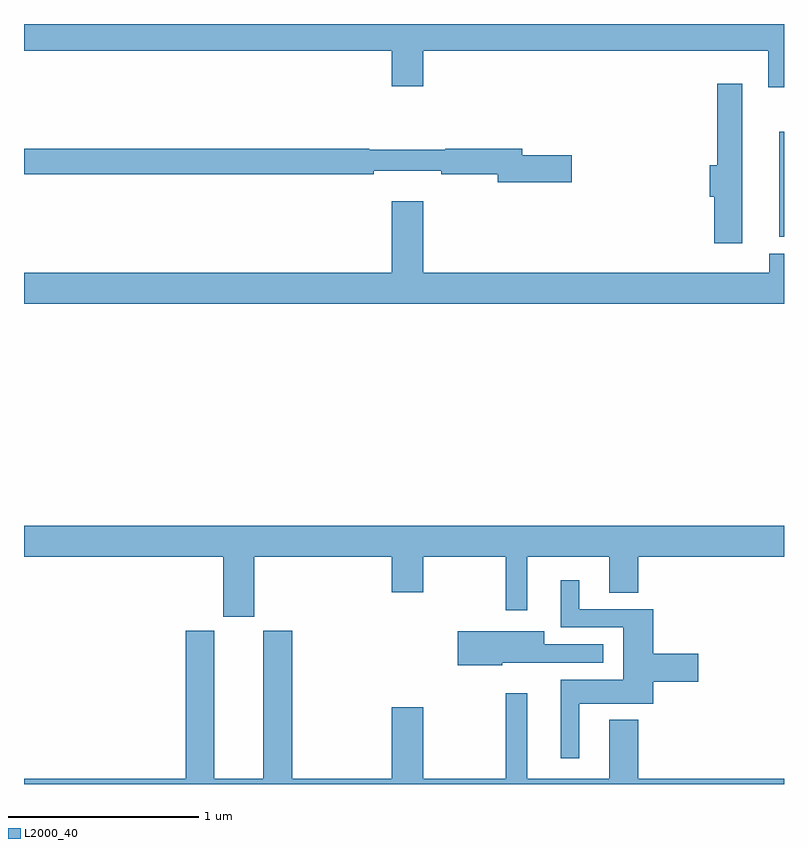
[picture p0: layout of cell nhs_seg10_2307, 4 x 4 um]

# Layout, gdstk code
import gdstk
lib = gdstk.Library(unit=1e-6, precision=1e-09)
def R(c, l, rs):  # rectangles x0, y0, x1, y1
    for r in rs: c.add(gdstk.rectangle(r[:2], r[2:], *l))
def P(c, l, *ps):  # polygons
    for p in ps: c.add(gdstk.Polygon(p, *l))
L2000_40 = (2000, 40)

nhs_seg10_2307 = lib.new_cell('nhs_seg10_2307')
R(nhs_seg10_2307, L2000_40, [(238.976,1255.38,239,1255.933)])
P(nhs_seg10_2307, L2000_40, [(239,1256.5),(235,1256.5),(235,1256.36),(236.936,1256.36),(236.936,1256.172),(237.1,1256.172),(237.1,1256.36),(238.916,1256.36),(238.916,1256.166),(239,1256.166)],
  [(238.78,1256.185),(238.649,1256.185),(238.649,1255.757),(238.61,1255.757),(238.61,1255.59),(238.634,1255.59),(238.634,1255.346),(238.78,1255.346)],
  [(237.883,1255.808),(237.622,1255.808),(237.622,1255.844),(237.218,1255.844),(237.218,1255.837),(236.818,1255.837),(236.818,1255.844),(235,1255.844),(235,1255.708),(236.84,1255.708),(236.84,1255.727),(237.196,1255.727),(237.196,1255.708),(237.494,1255.708),(237.494,1255.666),(237.883,1255.666)],
  [(239,1255.291),(238.922,1255.291),(238.922,1255.192),(237.1,1255.192),(237.1,1255.567),(236.936,1255.567),(236.936,1255.192),(235,1255.192),(235,1255.028),(239,1255.028)],
  [(236.212,1253.696),(236.936,1253.696),(236.936,1253.508),(237.1,1253.508),(237.1,1253.696),(237.535,1253.696),(237.535,1253.415),(237.649,1253.415),(237.649,1253.696),(238.079,1253.696),(238.079,1253.506),(238.232,1253.506),(238.232,1253.696),(239,1253.696),(239,1253.86),(235,1253.86),(235,1253.696),(236.048,1253.696),(236.048,1253.379),(236.212,1253.379)],
  [(237.922,1252.922),(238.313,1252.922),(238.313,1253.039),(238.549,1253.039),(238.549,1253.186),(238.313,1253.186),(238.313,1253.421),(237.922,1253.421),(237.922,1253.572),(237.824,1253.572),(237.824,1253.325),(238.154,1253.325),(238.154,1253.05),(237.824,1253.05),(237.824,1252.635),(237.922,1252.635)],
  [(239,1252.528),(238.232,1252.528),(238.232,1252.837),(238.079,1252.837),(238.079,1252.528),(237.649,1252.528),(237.649,1252.978),(237.535,1252.978),(237.535,1252.528),(237.1,1252.528),(237.1,1252.903),(236.936,1252.903),(236.936,1252.528),(236.411,1252.528),(236.411,1253.307),(236.258,1253.307),(236.258,1252.528),(236.002,1252.528),(236.002,1253.307),(235.85,1253.307),(235.85,1252.528),(235,1252.528),(235,1252.5),(239,1252.5)],
  [(237.516,1253.138),(237.735,1253.138),(237.735,1253.139),(238.048,1253.139),(238.048,1253.235),(237.739,1253.235),(237.739,1253.304),(237.282,1253.304),(237.282,1253.126),(237.516,1253.126)])

lib.write_gds('nhs_seg10_2307.gds')
